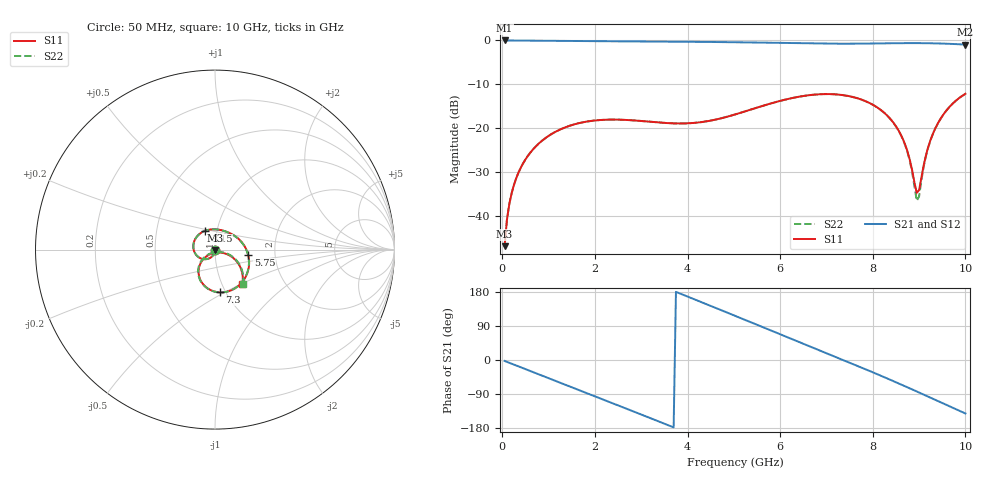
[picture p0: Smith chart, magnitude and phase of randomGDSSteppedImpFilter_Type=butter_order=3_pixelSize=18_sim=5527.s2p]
! freq	dB(S11)	phase(S11)	dB(S12)	phase(S12)
!  dB(S21)	phase(S21)	dB(S22)	phase(S22)
!S-par simulation data
#  GHz  S  DB  R 50
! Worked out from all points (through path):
!   200 points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, 50 MHz to 10 GHz, reference 50 ohm
!   highest |S21| = -0.01 dB at 50 MHz (marker M1); lowest = -1.0 dB at 10 GHz (marker M2)
!   group delay of S21, straight-line fit = 138 ps
!   lowest |S11| = -47.0 dB at 50 MHz (marker M3), VSWR 1.01, Z = 50 - j0.447 ohm
!   |S11| at or under -10 dB: start of sweep to end of sweep
!   |S22| runs from -47.0 to -12.2 dB; largest |S21 - S12| = 0
!   S11 on the Smith chart (normalised r, x): 50 MHz: 1.00, -0.01; 3.15 GHz: 0.88, +0.19; 5.75 GHz: 1.45, -0.09; 7.3 GHz: 0.94, -0.47; 10 GHz: 1.24, -0.51
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0.05  -46.98 -91.7  -0.01 -2.5  -0.01 -2.5  -46.98 -91.7
0.1  -40.97 -94.5  -0.02 -4.9  -0.02 -4.9  -40.97 -94.5
0.2  -34.97 -99.7  -0.03 -9.7  -0.03 -9.7  -34.97 -99.7
0.5  -27.18 -114.5  -0.04 -24.1  -0.04 -24.1  -27.18 -114.6
1.15  -20.86 -146.1  -0.10 -55.2  -0.10 -55.2  -20.86 -146.3
1.75  -18.68 -175.0  -0.16 -83.9  -0.16 -83.9  -18.68 -175.3
2.4  -18.08 153.7  -0.20 -114.9  -0.20 -114.9  -18.08 153.3
3.15  -18.54 117.4  -0.25 -151.1  -0.25 -151.1  -18.53 116.7
3.4  -18.76 105.1  -0.26 -163.2  -0.26 -163.2  -18.76 104.4
4.2  -18.78 66.0  -0.32 157.6  -0.32 157.6  -18.78 65.0
5.05  -16.83 24.7  -0.42 115.5  -0.42 115.5  -16.83 23.7
5.75  -14.54 -9.1  -0.53 80.5  -0.53 80.5  -14.54 -10.0
6.7  -12.42 -54.9  -0.70 33.0  -0.70 33.0  -12.42 -55.7
7.3  -12.42 -83.8  -0.75 3.1  -0.75 3.1  -12.42 -84.6
7.8  -13.68 -107.6  -0.73 -22.2  -0.73 -22.2  -13.69 -108.5
8.35  -17.58 -132.1  -0.66 -50.7  -0.66 -50.7  -17.60 -133.6
8.7  -23.82 -141.8  -0.62 -69.4  -0.62 -69.4  -23.94 -144.8
8.95  -34.82 -93.5  -0.62 -83.1  -0.62 -83.1  -36.61 -96.1
9  -34.18 -58.5  -0.62 -85.8  -0.62 -85.8  -35.65 -53.1
9.15  -26.14 -22.7  -0.63 -94.1  -0.63 -94.1  -26.33 -18.8
9.35  -20.09 -23.0  -0.67 -105.1  -0.67 -105.1  -20.13 -21.0
10  -12.20 -51.6  -0.96 -141.1  -0.96 -141.1  -12.20 -50.8
